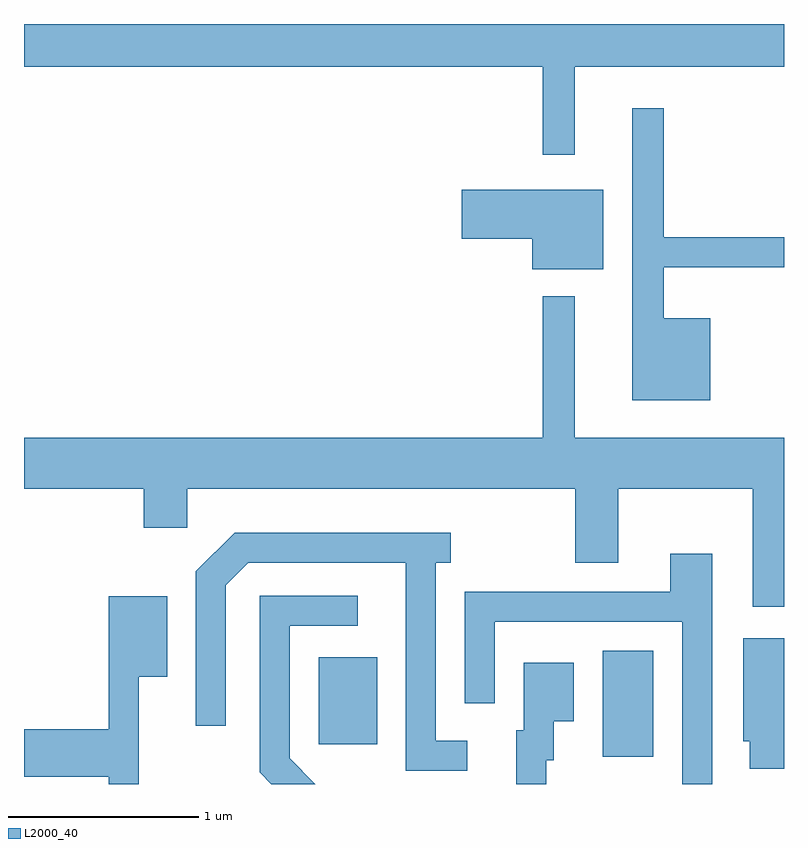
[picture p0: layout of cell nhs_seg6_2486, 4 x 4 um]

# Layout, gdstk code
import gdstk
lib = gdstk.Library(unit=1e-6, precision=1e-09)
def R(c, l, rs):  # rectangles x0, y0, x1, y1
    for r in rs: c.add(gdstk.rectangle(r[:2], r[2:], *l))
def P(c, l, *ps):  # polygons
    for p in ps: c.add(gdstk.Polygon(p, *l))
L2000_40 = (2000, 40)

nhs_seg6_2486 = lib.new_cell('nhs_seg6_2486')
R(nhs_seg6_2486, L2000_40, [(262.656,1646.306,262.924,1646.864), (261.161,1646.371,261.469,1646.829)])
P(nhs_seg6_2486, L2000_40, [(262.509,1649.936),(263.611,1649.936),(263.611,1650.162),(259.611,1650.162),(259.611,1649.936),(262.341,1649.936),(262.341,1649.473),(262.509,1649.473)],
  [(263.224,1648.614),(262.979,1648.614),(262.979,1648.881),(263.611,1648.881),(263.611,1649.039),(262.979,1649.039),(262.979,1649.718),(262.811,1649.718),(262.811,1648.181),(263.224,1648.181)],
  [(262.659,1649.289),(261.916,1649.289),(261.916,1649.031),(262.286,1649.031),(262.286,1648.871),(262.659,1648.871)],
  [(263.611,1647.984),(262.509,1647.984),(262.509,1648.728),(262.341,1648.728),(262.341,1647.984),(259.611,1647.984),(259.611,1647.716),(260.241,1647.716),(260.241,1647.511),(260.469,1647.511),(260.469,1647.716),(262.511,1647.716),(262.511,1647.326),(262.739,1647.326),(262.739,1647.716),(263.446,1647.716),(263.446,1647.096),(263.611,1647.096)],
  [(261.943,1646.389),(261.779,1646.389),(261.779,1647.326),(261.858,1647.326),(261.858,1647.484),(260.719,1647.484),(260.516,1647.282),(260.516,1646.468),(260.674,1646.468),(260.674,1647.209),(260.791,1647.326),(261.621,1647.326),(261.621,1646.231),(261.943,1646.231)],
  [(263.234,1647.374),(263.011,1647.374),(263.011,1647.174),(261.931,1647.174),(261.931,1646.588),(262.089,1646.588),(262.089,1647.016),(263.076,1647.016),(263.076,1646.162),(263.234,1646.162)],
  [(261.009,1646.297),(261.009,1646.996),(261.368,1646.996),(261.368,1647.154),(260.851,1647.154),(260.851,1646.224),(260.913,1646.162),(261.144,1646.162)],
  [(260.214,1646.726),(260.364,1646.726),(260.364,1647.149),(260.056,1647.149),(260.056,1646.449),(259.611,1646.449),(259.611,1646.201),(260.056,1646.201),(260.056,1646.162),(260.214,1646.162)],
  [(263.611,1646.929),(263.396,1646.929),(263.396,1646.386),(263.431,1646.386),(263.431,1646.241),(263.611,1646.241)],
  [(262.359,1646.286),(262.399,1646.286),(262.399,1646.491),(262.504,1646.491),(262.504,1646.799),(262.241,1646.799),(262.241,1646.444),(262.201,1646.444),(262.201,1646.162),(262.359,1646.162)])

lib.write_gds('nhs_seg6_2486.gds')
